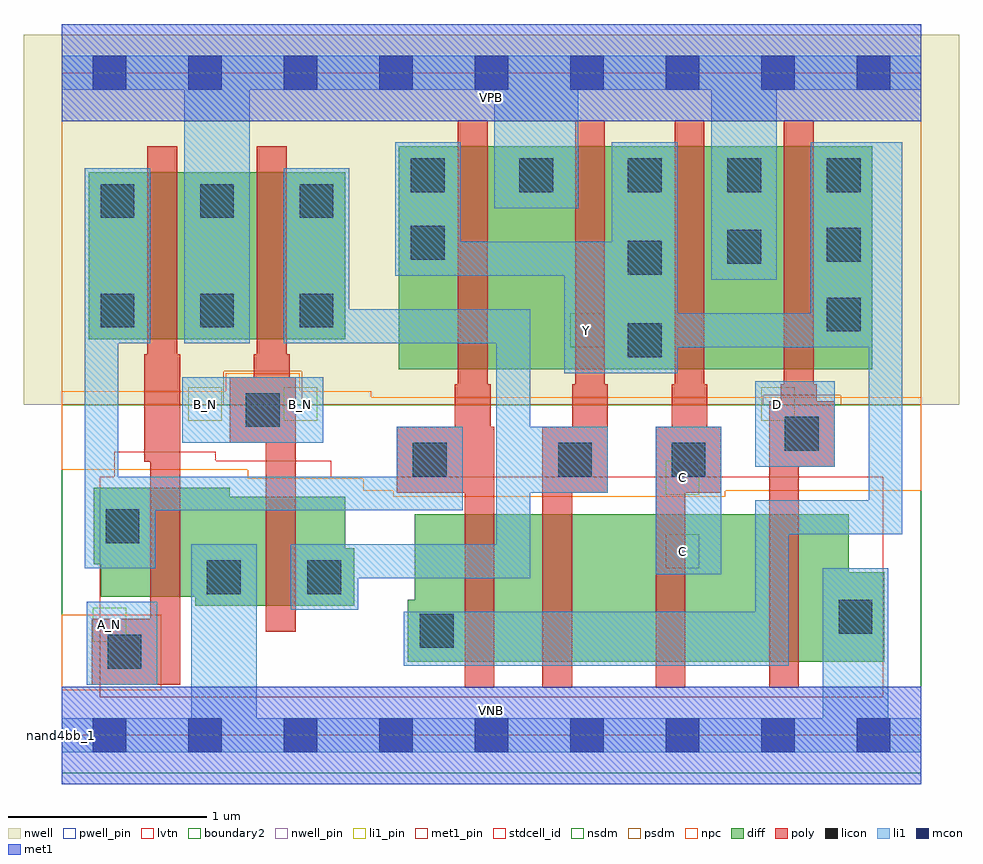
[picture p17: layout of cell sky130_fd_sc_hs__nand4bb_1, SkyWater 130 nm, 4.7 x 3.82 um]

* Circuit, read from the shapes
.subckt sky130_fd_sc_hs__nand4bb_1 A_N B_N C D VGND VNB VPB VPWR Y
XM1 VGND A_N n1 VNB sky130_fd_pr__nfet_01v8_lvt w=0.55 l=0.15
XM2 n2 B_N VGND VNB sky130_fd_pr__nfet_01v8_lvt w=0.55 l=0.15
XM3 n3 n1 Y VNB sky130_fd_pr__nfet_01v8_lvt w=0.74 l=0.15
XM4 n4 n2 n3 VNB sky130_fd_pr__nfet_01v8_lvt w=0.74 l=0.15
XM5 n5 C n4 VNB sky130_fd_pr__nfet_01v8_lvt w=0.74 l=0.15
XM6 VGND D n5 VNB sky130_fd_pr__nfet_01v8_lvt w=0.74 l=0.15
XM7 VPWR A_N n1 VPB sky130_fd_pr__pfet_01v8 w=0.84 l=0.15
XM8 n2 B_N VPWR VPB sky130_fd_pr__pfet_01v8 w=0.84 l=0.15
XM9 VPWR n1 Y VPB sky130_fd_pr__pfet_01v8 w=1.12 l=0.15
XM10 Y n2 VPWR VPB sky130_fd_pr__pfet_01v8 w=1.12 l=0.15
XM11 VPWR C Y VPB sky130_fd_pr__pfet_01v8 w=1.12 l=0.15
XM12 Y D VPWR VPB sky130_fd_pr__pfet_01v8 w=1.12 l=0.15
.ends

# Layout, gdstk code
import gdstk
lib = gdstk.Library(unit=1e-6, precision=1e-09)
def R(c, l, rs):  # rectangles x0, y0, x1, y1
    for r in rs: c.add(gdstk.rectangle(r[:2], r[2:], *l))
def A(c, l, x, y, w, h, nx, ny, dx, dy):  # array of equal rectangles
    R(c, l, [(x+i*dx, y+j*dy, x+i*dx+w, y+j*dy+h) for i in range(nx) for j in range(ny)])
def P(c, l, *ps):  # polygons
    for p in ps: c.add(gdstk.Polygon(p, *l))
nwell_pin = (64, 16)
nwell = (64, 20)
diff = (65, 20)
poly = (66, 20)
licon = (66, 44)
li1_pin = (67, 16)
li1 = (67, 20)
mcon = (67, 44)
met1_pin = (68, 16)
met1 = (68, 20)
stdcell_id = (81, 4)
nsdm = (93, 44)
psdm = (94, 20)
npc = (95, 20)
pwell_pin = (122, 16)
lvtn = (125, 44)
boundary2 = (236, 0)

sky130_fd_sc_hs__nand4bb = lib.new_cell('sky130_fd_sc_hs__nand4bb_1')
R(sky130_fd_sc_hs__nand4bb, nwell_pin, [(0,3.085,4.32,3.33)])
R(sky130_fd_sc_hs__nand4bb, nwell, [(-0.19,1.66,4.51,3.52)])
R(sky130_fd_sc_hs__nand4bb, diff, [(1.695,1.84,4.075,2.96), (0.135,1.99,1.425,2.83)])
P(sky130_fd_sc_hs__nand4bb, diff, [(1.47,0.94),(1.425,0.94),(1.425,1.2),(0.845,1.2),(0.845,1.245),(0.16,1.245),(0.16,0.86),(0.195,0.86),(0.195,0.695),(0.67,0.695),(0.67,0.65),(1.47,0.65)],
  [(4.135,0.82),(3.955,0.82),(3.955,1.11),(1.775,1.11),(1.775,0.68),(1.74,0.68),(1.74,0.37),(4.135,0.37)])
P(sky130_fd_sc_hs__nand4bb, poly, [(3.885,1.68),(3.795,1.68),(3.795,1.765),(3.78,1.765),(3.78,3.09),(3.63,3.09),(3.63,1.765),(3.615,1.765),(3.615,1.68),(3.555,1.68),(3.555,0.24),(3.705,0.24),(3.705,1.35),(3.885,1.35)],
  [(3.315,1.55),(3.245,1.55),(3.245,1.765),(3.23,1.765),(3.23,3.09),(3.08,3.09),(3.08,1.765),(3.065,1.765),(3.065,1.55),(2.985,1.55),(2.985,0.24),(3.135,0.24),(3.135,1.22),(3.315,1.22)],
  [(2.745,1.765),(2.73,1.765),(2.73,3.09),(2.58,3.09),(2.58,1.765),(2.565,1.765),(2.565,1.55),(2.415,1.55),(2.415,0.24),(2.565,0.24),(2.565,1.22),(2.745,1.22)],
  [(2.175,1.55),(2.155,1.55),(2.155,1.765),(2.14,1.765),(2.14,3.09),(1.99,3.09),(1.99,1.765),(1.975,1.765),(1.975,1.55),(1.685,1.55),(1.685,1.22),(2.025,1.22),(2.025,0.24),(2.175,0.24)],
  [(1.175,1.8),(1.145,1.8),(1.145,1.915),(1.13,1.915),(1.13,2.96),(0.98,2.96),(0.98,1.915),(0.965,1.915),(0.965,1.8),(0.845,1.8),(0.845,1.47),(1.025,1.47),(1.025,0.52),(1.175,0.52)],
  [(0.595,1.915),(0.58,1.915),(0.58,2.96),(0.43,2.96),(0.43,1.915),(0.415,1.915),(0.415,1.375),(0.445,1.375),(0.445,0.585),(0.15,0.585),(0.15,0.255),(0.595,0.255)])
A(sky130_fd_sc_hs__nand4bb, licon, 3.845, 2.03, 0.17, 0.17, 1, 3, 0, 0.35)
A(sky130_fd_sc_hs__nand4bb, licon, 0.195, 2.05, 0.17, 0.17, 3, 2, 0.5, 0.55)
A(sky130_fd_sc_hs__nand4bb, licon, 1.755, 2.73, 0.17, 0.17, 3, 1, 0.545, 0)
R(sky130_fd_sc_hs__nand4bb, licon, [(0.23,0.335,0.4,0.505), (1.8,0.44,1.97,0.61), (3.905,0.51,4.075,0.68), (0.73,0.71,0.9,0.88), (1.235,0.71,1.405,0.88), (0.22,0.965,0.39,1.135), (1.765,1.3,1.935,1.47), (2.495,1.3,2.665,1.47), (3.065,1.3,3.235,1.47), (3.635,1.43,3.805,1.6), (0.925,1.55,1.095,1.72), (2.845,1.9,3.015,2.07), (2.845,2.315,3.015,2.485), (3.345,2.37,3.515,2.54), (1.755,2.39,1.925,2.56), (3.345,2.73,3.515,2.9)])
R(sky130_fd_sc_hs__nand4bb, li1_pin, [(0.155,0.47,0.325,0.64), (3.035,0.84,3.205,1.01), (3.035,1.21,3.205,1.38), (0.635,1.58,0.805,1.75), (1.115,1.58,1.285,1.75), (3.515,1.58,3.685,1.75), (2.555,1.95,2.725,2.12)])
R(sky130_fd_sc_hs__nand4bb, li1, [(0.125,0.255,0.48,0.67), (2.985,0.81,3.315,1.55), (3.485,1.35,3.885,1.78), (0.605,1.47,1.315,1.8)])
P(sky130_fd_sc_hs__nand4bb, li1, [(0.615,1.97),(0.615,3.245),(0,3.245),(0,3.415),(4.32,3.415),(4.32,3.245),(3.595,3.245),(3.595,2.29),(3.265,2.29),(3.265,3.245),(2.595,3.245),(2.595,2.65),(2.175,2.65),(2.175,3.245),(0.945,3.245),(0.945,1.97)],
  [(3.825,0.085),(3.825,0.84),(4.155,0.84),(4.155,0.085),(4.32,0.085),(4.32,-0.085),(0,-0.085),(0,0.085),(0.65,0.085),(0.65,0.96),(0.98,0.96),(0.98,0.085)],
  [(2.525,2.31),(1.675,2.31),(1.675,2.98),(2.005,2.98),(2.005,2.48),(2.765,2.48),(2.765,2.98),(3.095,2.98),(3.095,2.12),(3.765,2.12),(3.765,2.98),(4.225,2.98),(4.225,1.01),(3.655,1.01),(3.655,0.35),(1.72,0.35),(1.72,0.62),(3.485,0.62),(3.485,1.18),(4.055,1.18),(4.055,1.95),(3.095,1.95),(3.095,1.82),(2.525,1.82)],
  [(1.15,0.63),(1.15,0.96),(2.185,0.96),(2.185,1.97),(1.115,1.97),(1.115,2.85),(1.445,2.85),(1.445,2.14),(2.355,2.14),(2.355,1.55),(2.745,1.55),(2.745,1.22),(2.355,1.22),(2.355,0.79),(1.49,0.79),(1.49,0.63)],
  [(0.115,0.84),(0.115,2.85),(0.445,2.85),(0.445,1.97),(0.285,1.97),(0.285,1.3),(1.685,1.3),(1.685,1.55),(2.015,1.55),(2.015,1.13),(0.47,1.13),(0.47,0.84)])
A(sky130_fd_sc_hs__nand4bb, mcon, 0.155, -0.085, 0.17, 0.17, 9, 2, 0.48, 3.33)
R(sky130_fd_sc_hs__nand4bb, met1_pin, [(0,0,4.32,0.245), (0,3.085,4.32,3.33)])
R(sky130_fd_sc_hs__nand4bb, met1, [(0,-0.245,4.32,0.245), (0,3.085,4.32,3.575)])
R(sky130_fd_sc_hs__nand4bb, stdcell_id, [(0,0,4.32,3.33)])
R(sky130_fd_sc_hs__nand4bb, nsdm, [(0,-0.19,4.32,1.66)])
P(sky130_fd_sc_hs__nand4bb, psdm, [(4.32,3.52),(0,3.52),(0,1.66),(0.815,1.66),(0.815,1.83),(1.205,1.83),(1.205,1.66),(3.525,1.66),(3.525,1.71),(3.915,1.71),(3.915,1.66),(4.32,1.66)])
R(sky130_fd_sc_hs__nand4bb, npc, [(0,0.225,0.5,0.605)])
P(sky130_fd_sc_hs__nand4bb, npc, [(4.32,1.7),(1.555,1.7),(1.555,1.73),(1.195,1.73),(1.195,1.82),(0.825,1.82),(0.825,1.73),(0,1.73),(0,1.335),(0.935,1.335),(0.935,1.29),(1.515,1.29),(1.515,1.23),(1.665,1.23),(1.665,1.2),(3.335,1.2),(3.335,1.23),(4.32,1.23)])
R(sky130_fd_sc_hs__nand4bb, pwell_pin, [(0,0,4.32,0.245)])
P(sky130_fd_sc_hs__nand4bb, lvtn, [(4.13,1.3),(1.355,1.3),(1.355,1.38),(0.775,1.38),(0.775,1.425),(0.265,1.425),(0.265,1.3),(0.19,1.3),(0.19,0.19),(4.13,0.19)])
R(sky130_fd_sc_hs__nand4bb, boundary2, [(0,0,4.32,3.33)])
sky130_fd_sc_hs__nand4bb.add(gdstk.Label('nand4bb_1', (0,0), layer=83, texttype=44))
sky130_fd_sc_hs__nand4bb.add(gdstk.Label('VNB', (2.16,0.123), layer=64, texttype=59))
sky130_fd_sc_hs__nand4bb.add(gdstk.Label('VPB', (2.16,3.208), layer=64, texttype=5))
sky130_fd_sc_hs__nand4bb.add(gdstk.Label('VPWR', (2.16,3.208), layer=68, texttype=5))
sky130_fd_sc_hs__nand4bb.add(gdstk.Label('VGND', (2.16,0.123), layer=68, texttype=5))
sky130_fd_sc_hs__nand4bb.add(gdstk.Label('B_N', (0.72,1.665), layer=67, texttype=5))
sky130_fd_sc_hs__nand4bb.add(gdstk.Label('B_N', (1.2,1.665), layer=67, texttype=5))
sky130_fd_sc_hs__nand4bb.add(gdstk.Label('A_N', (0.24,0.555), layer=67, texttype=5))
sky130_fd_sc_hs__nand4bb.add(gdstk.Label('D', (3.6,1.665), layer=67, texttype=5))
sky130_fd_sc_hs__nand4bb.add(gdstk.Label('Y', (2.64,2.035), layer=67, texttype=5))
sky130_fd_sc_hs__nand4bb.add(gdstk.Label('C', (3.12,0.925), layer=67, texttype=5))
sky130_fd_sc_hs__nand4bb.add(gdstk.Label('C', (3.12,1.295), layer=67, texttype=5))

lib.write_gds('sky130_fd_sc_hs__nand4bb_1.gds')
